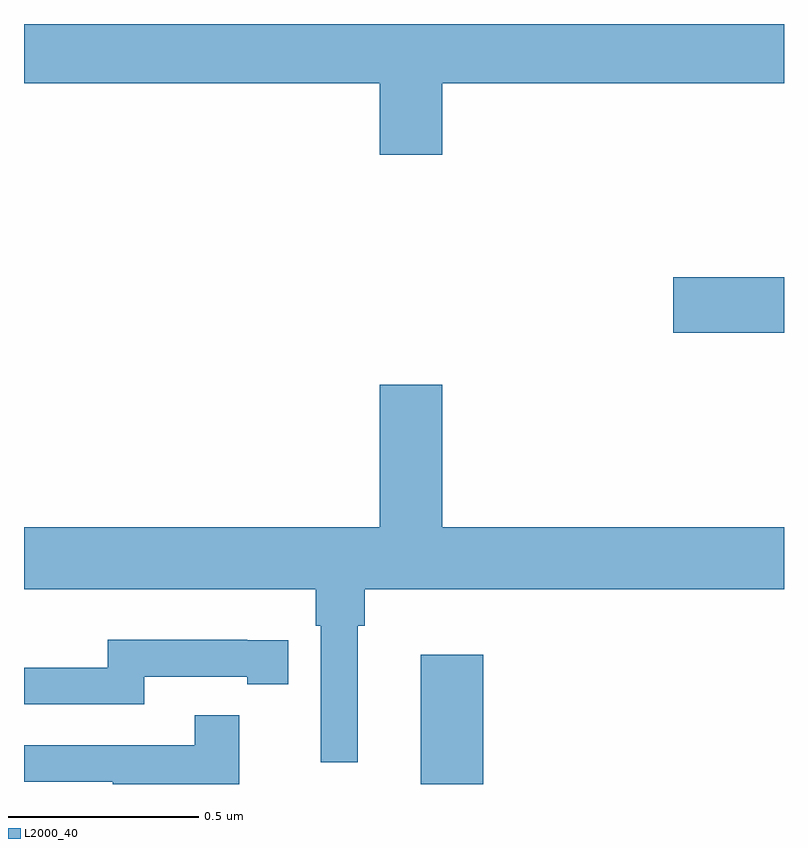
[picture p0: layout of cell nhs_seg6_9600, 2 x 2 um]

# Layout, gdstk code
import gdstk
lib = gdstk.Library(unit=1e-6, precision=1e-09)
def R(c, l, rs):  # rectangles x0, y0, x1, y1
    for r in rs: c.add(gdstk.rectangle(r[:2], r[2:], *l))
def P(c, l, *ps):  # polygons
    for p in ps: c.add(gdstk.Polygon(p, *l))
L2000_40 = (2000, 40)

nhs_seg6_9600 = lib.new_cell('nhs_seg6_9600')
R(nhs_seg6_9600, L2000_40, [(237.044,937.5,237.208,937.84), (237.708,938.687,238,938.834)])
P(nhs_seg6_9600, L2000_40, [(237.1,939.344),(238,939.344),(238,939.5),(236,939.5),(236,939.344),(236.936,939.344),(236.936,939.156),(237.1,939.156)],
  [(236.878,937.916),(236.897,937.916),(236.897,938.012),(238,938.012),(238,938.176),(237.1,938.176),(237.1,938.551),(236.936,938.551),(236.936,938.176),(236,938.176),(236,938.012),(236.768,938.012),(236.768,937.916),(236.781,937.916),(236.781,937.557),(236.878,937.557)],
  [(236.316,937.782),(236.588,937.782),(236.588,937.762),(236.696,937.762),(236.696,937.878),(236.588,937.878),(236.588,937.879),(236.22,937.879),(236.22,937.806),(236,937.806),(236,937.71),(236.316,937.71)],
  [(236.567,937.681),(236.449,937.681),(236.449,937.602),(236,937.602),(236,937.506),(236.233,937.506),(236.233,937.5),(236.567,937.5)])

lib.write_gds('nhs_seg6_9600.gds')
